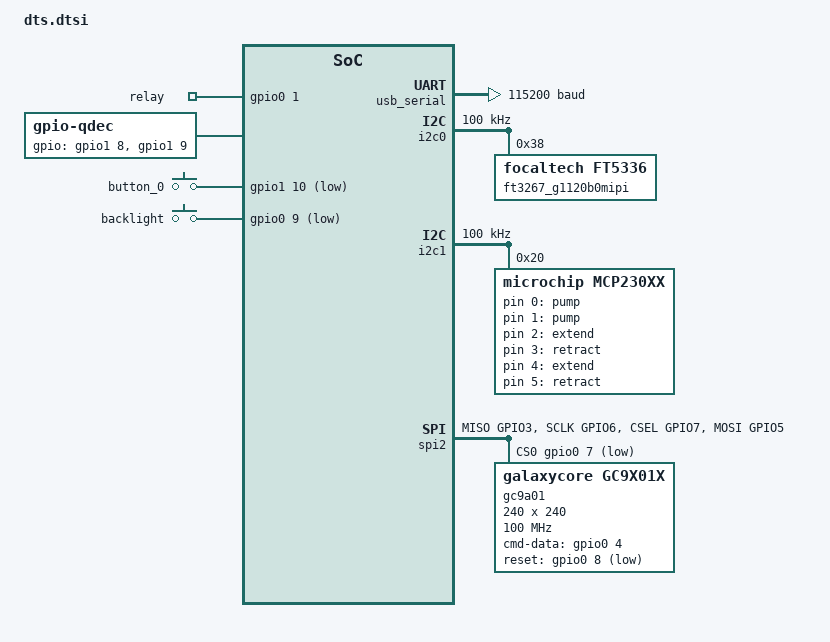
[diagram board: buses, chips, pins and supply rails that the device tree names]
#include <zephyr/dt-bindings/pinctrl/esp-pinctrl-common.h>
#include <dt-bindings/pinctrl/esp32s3-pinctrl.h>
#include <zephyr/dt-bindings/pinctrl/esp32s3-gpio-sigmap.h>
#include <zephyr/dt-bindings/input/input-event-codes.h>

#include <zephyr/dt-bindings/display/panel.h>
#include <zephyr/dt-bindings/pwm/pwm.h>
#include <zephyr/dt-bindings/i2c/i2c.h>
/ {
  aliases {
    qdec0 = &qdec;
    mate-pump = &pump1;
    lime-pump = &pump2;
   ice-relay = &relay1;
   rum-extend= &actuator1_extend;
   rum-retract=&actuator1_retract;
   sugar-extend=&actuator2_extend;
   sugar-retract=&actuator2_retract;
	};
  chosen {
    zephyr,sram = &sram0;
    zephyr,console = &usb_serial;
    zephyr,shell-uart = &usb_serial;
    zephyr,flash = &flash0;
    zephyr,code-partition = &slot0_partition;
    zephyr,display = &gc9a01;
  };
  
	lvgl_pointer {
    status = "okay";
		compatible = "zephyr,lvgl-pointer-input";
		input = <&ft3267_g1120b0mipi>;
    swap-xy;
		//invert-y;
	};
  
  encoder {
    status = "okay";
    compatible = "zephyr,lvgl-encoder-input";
    rotation-input-code = <INPUT_REL_X>;
    button-input-code = <INPUT_KEY_0>;
  };
  outputs {
    status="okay";
		compatible = "gpio-leds";
    pump1: pump1 {
      label="pump";
      gpios = <&mcp230xx 0 (GPIO_ACTIVE_HIGH)>;
    };
    pump2: pump2 {
      label="pump";
      gpios = <&mcp230xx 1 (GPIO_ACTIVE_HIGH)>;
    };
   relay1: relay1 {
      label="relay";
      gpios = <&gpio0 1 (GPIO_ACTIVE_HIGH)>;
    };
   actuator1_extend: actuator1_extend {
      label="extend";
      gpios = <&mcp230xx 2 (GPIO_ACTIVE_HIGH)>;
    };
   actuator1_retract: actuator1_retract {
      label="retract";
      gpios = <&mcp230xx 3 (GPIO_ACTIVE_HIGH)>;
    };
   actuator2_extend: actuator2_extend {
      label="extend";
      gpios = <&mcp230xx 4 (GPIO_ACTIVE_HIGH)>;
    };
   actuator2_retract: actuator2_retract {
      label="retract";
      gpios = <&mcp230xx 5 (GPIO_ACTIVE_HIGH)>;
    };
  };

  qdec: qdec {
    status="okay";
    compatible = "gpio-qdec";
    gpios = <&gpio1 8 (GPIO_PULL_UP | GPIO_ACTIVE_HIGH)>,
                <&gpio1 9 (GPIO_PULL_UP | GPIO_ACTIVE_HIGH)>;
    steps-per-period = <4>;
    zephyr,axis = <INPUT_REL_X>;
    sample-time-us = <2000>;
    idle-timeout-ms = <200>;
  };

  buttons {
    compatible = "gpio-keys";
    button_0 {
      gpios = <&gpio1 10 (GPIO_PULL_UP | GPIO_ACTIVE_LOW)>;
      zephyr,code = <INPUT_KEY_0>;
    };
    backlight {
      gpios = <&gpio0 9 (GPIO_PULL_UP | GPIO_ACTIVE_LOW)>;
      zephyr,code = <INPUT_KEY_1>;
    };
  };
};

&usb_serial {
  current-speed = <115200>;
	status = "okay";
};
&i2c0 {
  status="okay";
  clock-frequency = <100000>;
	pinctrl-0 = <&i2c0_default>;
	pinctrl-names = "default";
 scl-timeout-us= <10>;
  ft3267_g1120b0mipi: ft3267@38 {
    status="okay";
		/*
		 * Note- the actual controller present on this IC is a FT3267,
		 * but the FT35336 driver in Zephyr supports this IC.
		 */
		compatible = "focaltech,ft5336";
		reg = <0x38>;
		//int-gpios = <&gpio0 14 GPIO_ACTIVE_LOW>;
	};
};

&i2c1 {
  status="okay";
  clock-frequency = <100000>;
	pinctrl-0 = <&i2c1_default>;
	pinctrl-names = "default";
  scl-timeout-us= <1000>;
       mcp230xx: mcp230xx@20 {
        status="okay";

				compatible = "microchip,mcp230xx";
				reg = <0x20>;
				gpio-controller;
				#gpio-cells = <2>;
				ngpios = <16>;
			};
      /*
	mux: tca9548a@70 {
		compatible = "ti,tca9548a";
		reg = <0x70>;
		status = "okay";
		#address-cells = <1>;
		#size-cells = <0>;

		ch0: mux_i2c@0 {
      status="okay";
			compatible = "ti,tca9546a-channel";
			reg = <0>;
			#address-cells = <1>;
			#size-cells = <0>;

      mcp230xx: mcp230xx@20 {
        status="okay";

				compatible = "microchip,mcp230xx";
				reg = <0x20>;
				gpio-controller;
				#gpio-cells = <2>;
				ngpios = <16>;
			};
		};
    
  };
*/
};
&spi2 {
	status = "okay";
	#address-cells = <1>;
	#size-cells = <0>;
	pinctrl-0 = <&spim2_default>;
	pinctrl-names = "default";
	cs-gpios = <&gpio0 7 GPIO_ACTIVE_LOW>;

	gc9a01: gc9a01@0 {
 		status = "okay";
		compatible = "galaxycore,gc9x01x";   
		reg = <0>;
		spi-max-frequency = <100000000>;
		cmd-data-gpios = <&gpio0 4 GPIO_ACTIVE_HIGH>;
		reset-gpios = <&gpio0 8 GPIO_ACTIVE_LOW>;

		pixel-format = <PANEL_PIXEL_FORMAT_RGB_888>;
		display-inversion;
		width = <240>;
		height = <240>;
	};
};

&pinctrl {
	ledc0_default: ledc0_default {
		group1 {
			pinmux = <LEDC_CH0_GPIO9>;
			output-enable;
		};
	};
	spim2_default: spim2_default {
		group1 {
			pinmux = <SPIM2_MISO_GPIO3>,
				 <SPIM2_SCLK_GPIO6>,
				 <SPIM2_CSEL_GPIO7>;
		};
		group2 {
			pinmux = <SPIM2_MOSI_GPIO5>;
			output-low;
		};
	};
 	i2c0_default: i2c0_default {
		group1 {
			pinmux = <I2C0_SDA_GPIO11>,
				 <I2C0_SCL_GPIO12>;
			//bias-pull-up;
      drive-open-drain;
			output-high;
		};
	}; 
	i2c1_default: i2c1_default {
		group1 {
			pinmux = <I2C1_SDA_GPIO13>,
				 <I2C1_SCL_GPIO15>;
			drive-open-drain;
			output-high;
		};
	};
};

